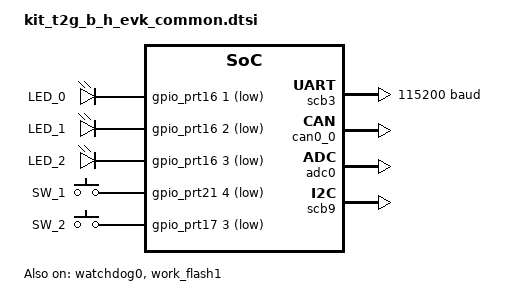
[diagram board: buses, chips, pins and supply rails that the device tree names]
/*
 * Copyright (c) 2025 Infineon Technologies AG,
 * or an affiliate of Infineon Technologies AG.
 *
 * SPDX-License-Identifier: Apache-2.0
 */

#include <arm/infineon/cat1c/traveo2-8m/system_clocks.dtsi>
#include <arm/infineon/cat1c/traveo2-8m/cyt4bfbche.dtsi>
#include <zephyr/dt-bindings/input/input-event-codes.h>
#include <zephyr/dt-bindings/pinctrl/ifx_cat1-pinctrl.h>
#include "kit_t2g_b_h_evk_cyt4bfbche_m0p-pinctrl.dtsi"
#include <dt-bindings/adc/adc.h>

/ {
	aliases {
		uart-3 = &uart3;
		led0 = &user_led0;
		led1 = &user_led1;
		led2 = &user_led2;
		sw0 = &user_bt0;
		sw1 = &user_bt1;
		watchdog0 = &watchdog0;
		dma0 = &dma0;
		smif0 = &smif0;
	};

	leds {
		compatible = "gpio-leds";

		user_led0: led_0 {
			label = "LED_0";
			gpios = <&gpio_prt16 1 GPIO_ACTIVE_LOW>;
		};

		user_led1: led_1 {
			label = "LED_1";
			gpios = <&gpio_prt16 2 GPIO_ACTIVE_LOW>;
		};

		user_led2: led_2 {
			label = "LED_2";
			gpios = <&gpio_prt16 3 GPIO_ACTIVE_LOW>;
		};
	};

	gpio_keys {
		compatible = "gpio-keys";

		user_bt0: user_btn0 {
			label = "SW_1";
			gpios = <&gpio_prt21 4 (GPIO_PULL_UP | GPIO_ACTIVE_LOW)>;
			zephyr,code = <INPUT_KEY_0>;
		};

		user_bt1: user_btn1 {
			label = "SW_2";
			gpios = <&gpio_prt17 3 (GPIO_PULL_UP | GPIO_ACTIVE_LOW)>;
			zephyr,code = <INPUT_KEY_1>;
		};
	};
    reserved-memory {
        #address-cells = <1>;
        #size-cells = <1>;
        sram_srom: memory@28000000 {
            reg = <0x28000000 DT_SIZE_K(2)>;
        };
        sram_m0plus: memory@28000800 {
            reg = <0x28000800 DT_SIZE_K(30)>;
        };
        sram_m7_0: memory@28008000 {
            reg = <0x28008000 DT_SIZE_K(224)>;
        };
        sram_m7_1: memory@28040000 {
            reg = <0x28040000 DT_SIZE_K(256)>;
        };
    };
};


&code_flash0 {
	partitions {
		compatible = "fixed-partitions";
		#address-cells = <1>;
		#size-cells = <1>;

		m0p_partition: partition_m0p@0 {
			label = "m0p_partition";
			reg = <0x0 DT_SIZE_K(512)>;
			status = "disabled";
		};
		m7_0_partition: partition@80000 {
			label = "m7_0_partition";
			reg = <0x80000 DT_SIZE_K(2048)>;
		};
		m7_1_partition: partition@280000 {
			label = "m7_1_partition";
			reg = <0x280000 DT_SIZE_K(5568)>;
		};
	};
};

uart3: &scb3 {
	compatible = "infineon,cat1-uart-pdl";
	current-speed = <115200>;
	clocks = <&clk_hf2>;
    ifx,peri-group = <IFX_PERI_GRP_INST_SEL(1, 0)>;
    ifx,peri-clk = <0x0121>;
    ifx,peri-div = <0>; /* 8-bit divider */
    ifx,peri-div-inst = <0>;

	/* UART pins */
	pinctrl-0 = <&p13_1_scb3_uart_tx &p13_0_scb3_uart_rx>;
	pinctrl-names = "default";
};

can0: &can0_0 {
	compatible = "infineon,cat1-can";
	clocks = <&clk_hf2>;
	clock-frequency = <40000000>;
	ifx,peri-group = <IFX_PERI_GRP_INST_SEL(1, 0)>;
	ifx,peri-clk = <0x0100>;
	ifx,peri-div = <3>; /* 24-bit divider */
	ifx,peri-div-inst = <0>;

	pinctrl-0 = <&p0_2_can0_0_tx &p0_3_can0_0_rx>;
	pinctrl-names = "default";
};

&adc0 {
	status = "okay";
	clock-frequency = <26670000>;
	ifx,peri-group = <IFX_PERI_GRP_INST_SEL(1, 0)>;
	ifx,peri-clk = <0x012A>;
	ifx,peri-div = <0>; /* 8-bit divider */
	ifx,peri-div-inst = <2>;

	#address-cells = <1>;
	#size-cells = <0>;
};

i2c9: &scb9 {
    compatible = "infineon,cat1-i2c-pdl";
    status = "okay";

    #address-cells = <1>;
    #size-cells = <0>;

    /* I2C pins */
    pinctrl-0 = <&p15_1_scb9_i2c_sda &p15_2_scb9_i2c_scl>;
    pinctrl-names = "default";

    clocks = <&clk_hf2>;
    ifx,peri-group = <IFX_PERI_GRP_INST_SEL(1, 0)>;
    ifx,peri-clk = <0x0127>;
    ifx,peri-div = <0>; /* 8-bit divider */
    ifx,peri-div-inst = <1>;
};

&can0 {
    status = "okay";
};

&watchdog0 {
	status = "okay";
};

&dma0 {
	status = "okay";
};

&gpio_prt16 {
	status = "okay";
};

&gpio_prt17 {
	status = "okay";
};

&gpio_prt21 {
	status = "okay";
};

&gpio_prt13 {
    status = "okay";
};

&gpio_prt15 {
    status = "okay";
};

&gpio_prt26 {
    status = "okay";
};

&gpio_prt27 {
    status = "okay";
};

&gpio_prt6 {
    status = "okay";
};

&gpio_prt7 {
    status = "okay";
};

&work_flash0 {
	status = "okay";
};

&work_flash1 {
	status = "okay";
};

&clk_eco {
	status = "okay";
	clock-frequency = <16000000>;
};

&pll0 {
	status = "okay";
};

&pll1 {
	status = "okay";
};

&pll2 {
	status = "okay";
};

&pll3 {
	status = "okay";
};


&clk_hf0 {
	status = "okay";
};
&clk_hf1 {
	status = "okay";
};
&clk_hf2 {
	status = "okay";
};
&clk_hf3 {
	status = "okay";
};
&clk_hf4 {
	status = "okay";
};
&clk_hf5 {
	status = "okay";
};
&clk_hf6 {
	status = "okay";
};
&clk_hf7 {
	status = "okay";
};

